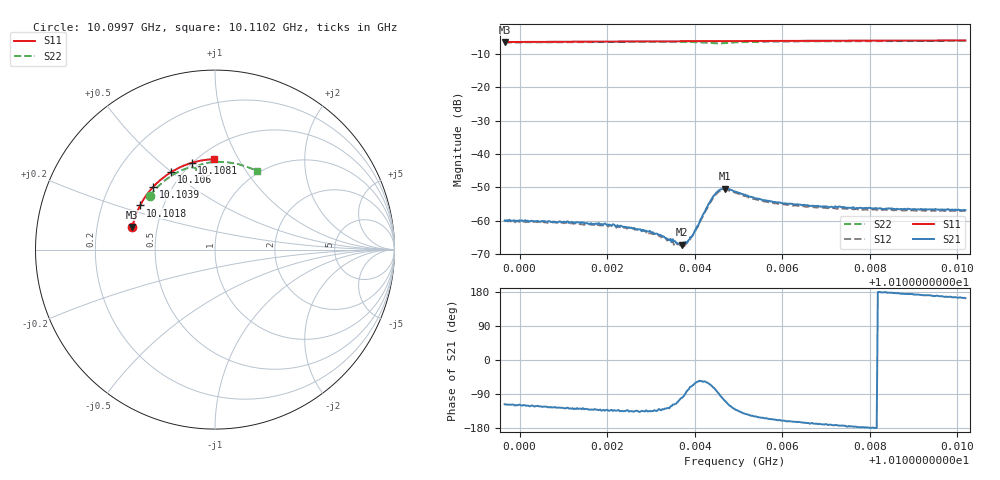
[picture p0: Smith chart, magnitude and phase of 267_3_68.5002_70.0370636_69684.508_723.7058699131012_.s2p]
#  HZ  S  RI  R  50.00
! Rohde & Schwarz Vector Network Analyzer
! Rohde-Schwarz,ZNB20-2Port,1311601062101988,3.16
! Created: UTC 3/20/2024, 5:00:36 PM
! freq[Hz]  re:S11  im:S11  re:S21  im:S21  re:S12  im:S12  re:S22  im:S22
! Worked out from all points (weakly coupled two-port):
!   401 points, 10.0997 GHz to 10.1102 GHz, reference 50 ohm
!   highest |S21| = -50.36 dB at 10.1047 GHz (marker M1); lowest = -67.2 dB at 10.1037 GHz (marker M2)
!   lowest |S11| = -6.4 dB at 10.0997 GHz (marker M3), VSWR 2.83, Z = 18 + j5.84 ohm
!   |S11| at or under -10 dB: nowhere
!   |S22| runs from -6.8 to -6.1 dB; largest |S21 - S12| = 0.0003
!   S11 on the Smith chart (normalised r, x): 10.0997 GHz: 0.36, +0.12; 10.1018 GHz: 0.37, +0.24; 10.1039 GHz: 0.39, +0.36; 10.106 GHz: 0.43, +0.50; 10.1081 GHz: 0.50, +0.64; 10.1102 GHz: 0.59, +0.80
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1.009966e10  -0.4604 0.1254  -0.000452 -0.000899  -0.000383 -0.000917  -0.3633 0.2981
1.010076e10  -0.4417 0.1901  -0.000554 -0.000798  -0.000492 -0.000803  -0.3166 0.352
1.010142e10  -0.4265 0.2271  -0.000612 -0.000728  -0.000506 -0.000732  -0.2849 0.3806
1.010176e10  -0.4172 0.2458  -0.000584 -0.00068  -0.000513 -0.000693  -0.2675 0.3943
1.010255e10  -0.3931 0.2873  -0.00056 -0.000557  -0.000498 -0.000573  -0.2243 0.4228
1.010318e10  -0.3708 0.3184  -0.000389 -0.000473  -0.00035 -0.000476  -0.1867 0.4419
1.01036e10  -0.3545 0.3381  -0.000169 -0.000427  -0.000136 -0.000421  -0.1593 0.4522
1.010371e10  -0.3502 0.343  -7.3e-05 -0.000432  -3.67e-05 -0.000435  -0.1518 0.4543
1.010381e10  -0.3459 0.3477  5.73e-05 -0.000457  8.74e-05 -0.000461  -0.1444 0.456
1.010387e10  -0.3438 0.35  0.000122 -0.000507  0.000152 -0.000458  -0.1404 0.4567
1.010397e10  -0.3394 0.3546  0.000266 -0.000579  0.000304 -0.000551  -0.1325 0.4576
1.010431e10  -0.3248 0.3693  0.000842 -0.00156  0.000934 -0.00139  -0.1076 0.452
1.010442e10  -0.32 0.3736  0.000699 -0.00219  0.000856 -0.00203  -0.1037 0.4471
1.010455e10  -0.3143 0.3789  6.3e-05 -0.00285  0.000279 -0.00273  -0.1047 0.4432
1.010468e10  -0.3083 0.3842  -0.000899 -0.0029  -0.000614 -0.00284  -0.1072 0.4466
1.010492e10  -0.2975 0.3937  -0.00176 -0.00211  -0.00153 -0.00215  -0.1006 0.4604
1.010531e10  -0.2787 0.4084  -0.00188 -0.00123  -0.00173 -0.00131  -0.0754 0.4749
1.010597e10  -0.2457 0.4307  -0.00174 -0.000642  -0.0016 -0.000757  -0.0307 0.4852
1.010668e10  -0.2084 0.4519  -0.00163 -0.000398  -0.00153 -0.000511  0.016 0.4886
1.010808e10  -0.1302 0.4832  -0.00153 -4.73e-05  -0.00145 -0.000189  0.1056 0.4809
1.010844e10  -0.1087 0.4892  -0.00154 7.32e-05  -0.00144 -0.000102  0.1287 0.4761
1.011018e10  -0.00491 0.5036  -0.00138 0.000419  -0.00138 0.000223  0.2324 0.4384
